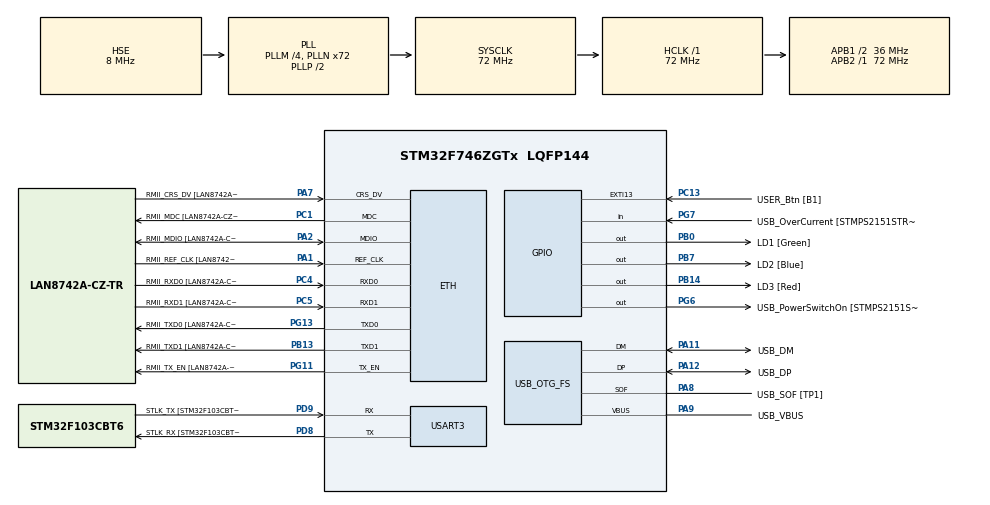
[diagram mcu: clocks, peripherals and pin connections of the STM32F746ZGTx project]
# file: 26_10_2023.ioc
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ETH.MediaInterface=HAL_ETH_RMII_MODE
ETH.PHY_Name=LAN8742A_PHY_ADDRESS
ETH.PHY_Value=0
ETH.PhyAddress=0
Mcu.Family=STM32F7
Mcu.Name=STM32F746ZGTx
Mcu.Package=LQFP144
NVIC.EXTI15_10_IRQn=true\:0\:0\:false\:false\:true\:true\:true\:true
NVIC.PriorityGroup=NVIC_PRIORITYGROUP_4
NVIC.TIM2_IRQn=true\:0\:0\:false\:false\:true\:true\:true\:true
NVIC.TIM3_IRQn=true\:0\:0\:false\:false\:true\:true\:true\:true
NVIC.USART3_IRQn=true\:0\:0\:false\:false\:true\:true\:true\:true
PA1.GPIO_Label=RMII_REF_CLK [LAN8742A-CZ-TR_REFCLK0]
PA1.Mode=RMII
PA1.Signal=ETH_REF_CLK
PA10.GPIO_Label=USB_ID
PA10.Signal=USB_OTG_FS_ID
PA11.GPIO_Label=USB_DM
PA11.Mode=Device_Only
PA11.Signal=USB_OTG_FS_DM
PA12.GPIO_Label=USB_DP
PA12.Mode=Device_Only
PA12.Signal=USB_OTG_FS_DP
PA13.GPIO_Label=TMS
PA13.Mode=Serial_Wire
PA13.Signal=SYS_JTMS-SWDIO
PA14.GPIO_Label=TCK
PA14.Mode=Serial_Wire
PA14.Signal=SYS_JTCK-SWCLK
PA2.GPIO_Label=RMII_MDIO [LAN8742A-CZ-TR_MDIO]
PA2.Mode=RMII
PA2.Signal=ETH_MDIO
PA7.GPIO_Label=RMII_CRS_DV [LAN8742A-CZ-TR_CRS_DV]
PA7.Mode=RMII
PA7.Signal=ETH_CRS_DV
PA8.GPIO_Label=USB_SOF [TP1]
PA8.Mode=Activate_SOF_FS
PA8.Signal=USB_OTG_FS_SOF
PA9.GPIO_Label=USB_VBUS
PA9.Mode=Activate_VBUS
PA9.Signal=USB_OTG_FS_VBUS
PB0.GPIO_Label=LD1 [Green]
PB0.Signal=GPIO_Output
PB13.GPIO_Label=RMII_TXD1 [LAN8742A-CZ-TR_TXD1]
PB13.Mode=RMII
PB13.Signal=ETH_TXD1
PB14.GPIO_Label=LD3 [Red]
PB14.Signal=GPIO_Output
PB3.GPIO_Label=SW0
PB3.Signal=SYS_JTDO-SWO
PB7.GPIO_Label=LD2 [Blue]
PB7.Signal=GPIO_Output
PC1.GPIO_Label=RMII_MDC [LAN8742A-CZ-TR_MDC]
PC1.Mode=RMII
PC1.Signal=ETH_MDC
PC13.GPIO_Label=USER_Btn [B1]
PC13.Signal=GPXTI13
PC14/OSC32_IN.Mode=LSE-External-Oscillator
PC14/OSC32_IN.Signal=RCC_OSC32_IN
PC15/OSC32_OUT.Mode=LSE-External-Oscillator
PC15/OSC32_OUT.Signal=RCC_OSC32_OUT
PC4.GPIO_Label=RMII_RXD0 [LAN8742A-CZ-TR_RXD0]
PC4.Mode=RMII
PC4.Signal=ETH_RXD0
PC5.GPIO_Label=RMII_RXD1 [LAN8742A-CZ-TR_RXD1]
PC5.Mode=RMII
PC5.Signal=ETH_RXD1
PD8.GPIO_Label=STLK_RX [STM32F103CBT6_PA3]
PD8.GPIO_PuPd=GPIO_PULLUP
PD8.Mode=Asynchronous
PD8.Signal=USART3_TX
PD9.GPIO_Label=STLK_TX [STM32F103CBT6_PA2]
PD9.GPIO_PuPd=GPIO_PULLUP
PD9.Mode=Asynchronous
PD9.Signal=USART3_RX
PG11.GPIO_Label=RMII_TX_EN [LAN8742A-CZ-TR_TXEN]
PG11.Mode=RMII
PG11.Signal=ETH_TX_EN
PG13.GPIO_Label=RMII_TXD0 [LAN8742A-CZ-TR_TXD0]
PG13.Mode=RMII
PG13.Signal=ETH_TXD0
PG6.GPIO_Label=USB_PowerSwitchOn [STMPS2151STR_EN]
PG6.Signal=GPIO_Output
PG7.GPIO_Label=USB_OverCurrent [STMPS2151STR_FAULT]
PG7.Signal=GPIO_Input
PH0/OSC_IN.GPIO_Label=MCO [STM32F103CBT6_PA8]
PH0/OSC_IN.Mode=HSE-External-Clock-Source
PH0/OSC_IN.Signal=RCC_OSC_IN
PH1/OSC_OUT.Mode=HSE-External-Clock-Source
PH1/OSC_OUT.Signal=RCC_OSC_OUT
ProjectManager.HeapSize=0x200
ProjectManager.StackSize=0x400
ProjectManager.TargetToolchain=STM32CubeIDE
RCC.48MHZClocksFreq_Value=24000000
RCC.AHBFreq_Value=72000000
RCC.APB1CLKDivider=RCC_HCLK_DIV2
RCC.APB1Freq_Value=36000000
RCC.APB1TimFreq_Value=72000000
RCC.APB2Freq_Value=72000000
RCC.APB2TimFreq_Value=72000000
RCC.CortexFreq_Value=72000000
RCC.HCLKFreq_Value=72000000
RCC.HSE_VALUE=8000000
RCC.HSI_VALUE=16000000
RCC.PLLM=4
RCC.PLLMUL=RCC_PLL_MUL9
RCC.PLLN=72
RCC.PLLQ=3
RCC.PRESCALERUSB=RCC_USBCLKSOURCE_PLL_DIV1_5
RCC.SYSCLKFreq_VALUE=72000000
RCC.SYSCLKSource=RCC_SYSCLKSOURCE_PLLCLK
RCC.SYSCLKSourceVirtual=RCC_SYSCLKSOURCE_PLLCLK
RCC.USBFreq_Value=48000000
RCC.VCOOutputFreq_Value=144000000
TIM2.Period=4999
TIM2.Prescaler=71
TIM3.Period=5000-1
TIM3.Prescaler=72 - 1
USART3.VirtualMode-Asynchronous=VM_ASYNC
USB_OTG_FS.VirtualMode=Device_Only
VP_TIM2_VS_ClockSourceINT.Mode=Internal
VP_TIM3_VS_ClockSourceINT.Mode=Internal
board=NUCLEO-F746ZG

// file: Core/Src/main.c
/* USER CODE BEGIN Header */
/**
  ******************************************************************************
  * @file           : main.c
  * @brief          : Main program body
  ******************************************************************************
  * @attention
  *
  * Copyright (c) 2023 STMicroelectronics.
  * All rights reserved.
  *
  * This software is licensed under terms that can be found in the LICENSE file
  * in the root directory of this software component.
  * If no LICENSE file comes with this software, it is provided AS-IS.
  *
  ******************************************************************************
  */
/* USER CODE END Header */
#include "main.h"
#include "string.h"

struct
{

}

#if defined ( __ICCARM__ ) /*!< IAR Compiler */
#pragma location=0x2004c000
ETH_DMADescTypeDef  DMARxDscrTab[ETH_RX_DESC_CNT]; /* Ethernet Rx DMA Descriptors */
#pragma location=0x2004c0a0
ETH_DMADescTypeDef  DMATxDscrTab[ETH_TX_DESC_CNT]; /* Ethernet Tx DMA Descriptors */

#elif defined ( __CC_ARM )  /* MDK ARM Compiler */

__attribute__((at(0x2004c000))) ETH_DMADescTypeDef  DMARxDscrTab[ETH_RX_DESC_CNT]; /* Ethernet Rx DMA Descriptors */
__attribute__((at(0x2004c0a0))) ETH_DMADescTypeDef  DMATxDscrTab[ETH_TX_DESC_CNT]; /* Ethernet Tx DMA Descriptors */

#elif defined ( __GNUC__ ) /* GNU Compiler */
ETH_DMADescTypeDef DMARxDscrTab[ETH_RX_DESC_CNT] __attribute__((section(".RxDecripSection"))); /* Ethernet Rx DMA Descriptors */
ETH_DMADescTypeDef DMATxDscrTab[ETH_TX_DESC_CNT] __attribute__((section(".TxDecripSection")));   /* Ethernet Tx DMA Descriptors */

#endif

ETH_TxPacketConfig TxConfig;

ETH_HandleTypeDef heth;

TIM_HandleTypeDef htim2;
TIM_HandleTypeDef htim3;

UART_HandleTypeDef huart3;

PCD_HandleTypeDef hpcd_USB_OTG_FS;

void SystemClock_Config(void);
static void MX_GPIO_Init(void);
static void MX_ETH_Init(void);
static void MX_USART3_UART_Init(void);
static void MX_USB_OTG_FS_PCD_Init(void);
static void MX_TIM2_Init(void);
static void MX_TIM3_Init(void);

/* USER CODE BEGIN 0 */
#define ZAD_4_GPIO_PIN_OUT LD2_GPIO_Port, LD2_Pin
#define ZAD_4_PIN_IN USER_Btn_Pin

#define ZAD 4

#define USE_LED 1
#if ZAD == 1
_Bool buff = 0;
#elif ZAD == 2
_Bool buff = 0;
void HAL_TIM_PeriodElapsedCallback(TIM_HandleTypeDef* htim)
{
#if USE_LED
	HAL_GPIO_TogglePin(LD1_GPIO_Port, LD1_Pin);
#endif
	buff = !buff;
}
#elif ZAD == 3 || ZAD == 4
_Bool buff = 0;
_Bool btn = 0;
char c = 0;
uint32_t arr = 5000;
void HAL_UART_RxCpltCallback(UART_HandleTypeDef *huart)
{
	if(c == '1' && arr > 100)
	{
		arr -= 100;
		__HAL_TIM_SET_AUTORELOAD(&htim2, arr - 1);
	}
	else if(c == '2' && arr < 10000)
	{
		arr += 100;
		__HAL_TIM_SET_AUTORELOAD(&htim2, arr - 1);
	}
	char buff[16];
	//itoa(arr, buff, 10);
	sprintf(buff, "%i\n\r", arr);
	HAL_UART_Transmit(&huart3, buff, strlen(buff), 100);
	HAL_UART_Receive_IT(&huart3, &c, 1);
}
#endif
#if ZAD == 3
void HAL_TIM_PeriodElapsedCallback(TIM_HandleTypeDef* htim)
{
	//HAL_GPIO_TogglePin(LD1_GPIO_Port, LD1_Pin);
	buff = !buff;
}
#elif ZAD == 4
void HAL_TIM_PeriodElapsedCallback(TIM_HandleTypeDef* htim)
{
	if(htim == &htim2)
	{
		buff = 1;
		HAL_TIM_Base_Stop_IT(&htim2);
		HAL_TIM_Base_Start_IT(&htim3);
	}
	if(htim == &htim3)
	{
		HAL_TIM_Base_Stop_IT(&htim3);
		buff = 0;
	}
}
void HAL_GPIO_EXTI_Callback(uint16_t GPIO_Pin)
{
	if(GPIO_Pin == ZAD_4_PIN_IN)
	{
		btn = 1;
		HAL_TIM_Base_Start_IT(&htim2);
		btn = 0;
	}
}
#endif
/* USER CODE END 0 */

int main(void)
{

  /* MCU Configuration--------------------------------------------------------*/

  /* Reset of all peripherals, Initializes the Flash interface and the Systick. */
  HAL_Init();

  /* Configure the system clock */
  SystemClock_Config();

  /* Initialize all configured peripherals */
  MX_GPIO_Init();
  MX_ETH_Init();
  MX_USART3_UART_Init();
  MX_USB_OTG_FS_PCD_Init();
  MX_TIM2_Init();
  MX_TIM3_Init();
  /* USER CODE BEGIN 2 */
#if ZAD == 1
  HAL_TIM_Base_Start(&htim2);
#elif ZAD == 2
  HAL_TIM_Base_Start_IT(&htim2);
#elif ZAD == 3
  HAL_UART_Receive_IT(&huart3, &c, 1);
  HAL_TIM_Base_Start_IT(&htim2);
#elif ZAD == 4
  HAL_UART_Receive_IT(&huart3, &c, 1);
  //HAL_TIM_Base_Start_IT(&htim2);
#endif

  /* USER CODE END 2 */

  /* Infinite loop */
  /* USER CODE BEGIN WHILE */
  while (1)
  {
#if ZAD == 1
	  while(__HAL_TIM_GET_FLAG(&htim2, TIM_FLAG_UPDATE) == 0);
	  __HAL_TIM_CLEAR_FLAG(&htim2, TIM_FLAG_UPDATE);
	  buff = !buff;
#if USE_LED
		HAL_GPIO_TogglePin(LD1_GPIO_Port, LD1_Pin);
#endif
#endif
#if ZAD == 2 || ZAD == 3 || ZAD == 4
		HAL_Delay(100);
#endif
    /* USER CODE END WHILE */

  }
}

void SystemClock_Config(void)
{
  RCC_OscInitTypeDef RCC_OscInitStruct = {0};
  RCC_ClkInitTypeDef RCC_ClkInitStruct = {0};

  /** Configure LSE Drive Capability
  */
  HAL_PWR_EnableBkUpAccess();

  /** Configure the main internal regulator output voltage
  */
  __HAL_RCC_PWR_CLK_ENABLE();
  __HAL_PWR_VOLTAGESCALING_CONFIG(PWR_REGULATOR_VOLTAGE_SCALE3);

  /** Initializes the RCC Oscillators according to the specified parameters
  * in the RCC_OscInitTypeDef structure.
  */
  RCC_OscInitStruct.OscillatorType = RCC_OSCILLATORTYPE_HSE;
  RCC_OscInitStruct.HSEState = RCC_HSE_BYPASS;
  RCC_OscInitStruct.PLL.PLLState = RCC_PLL_ON;
  RCC_OscInitStruct.PLL.PLLSource = RCC_PLLSOURCE_HSE;
  RCC_OscInitStruct.PLL.PLLM = 4;
  RCC_OscInitStruct.PLL.PLLN = 72;
  RCC_OscInitStruct.PLL.PLLP = RCC_PLLP_DIV2;
  RCC_OscInitStruct.PLL.PLLQ = 3;
  if (HAL_RCC_OscConfig(&RCC_OscInitStruct) != HAL_OK)
  {
    Error_Handler();
  }

  /** Initializes the CPU, AHB and APB buses clocks
  */
  RCC_ClkInitStruct.ClockType = RCC_CLOCKTYPE_HCLK|RCC_CLOCKTYPE_SYSCLK
                              |RCC_CLOCKTYPE_PCLK1|RCC_CLOCKTYPE_PCLK2;
  RCC_ClkInitStruct.SYSCLKSource = RCC_SYSCLKSOURCE_PLLCLK;
  RCC_ClkInitStruct.AHBCLKDivider = RCC_SYSCLK_DIV1;
  RCC_ClkInitStruct.APB1CLKDivider = RCC_HCLK_DIV2;
  RCC_ClkInitStruct.APB2CLKDivider = RCC_HCLK_DIV1;

  if (HAL_RCC_ClockConfig(&RCC_ClkInitStruct, FLASH_LATENCY_2) != HAL_OK)
  {
    Error_Handler();
  }
}

static void MX_ETH_Init(void)
{

   static uint8_t MACAddr[6];

  heth.Instance = ETH;
  MACAddr[0] = 0x00;
  MACAddr[1] = 0x80;
  MACAddr[2] = 0xE1;
  MACAddr[3] = 0x00;
  MACAddr[4] = 0x00;
  MACAddr[5] = 0x00;
  heth.Init.MACAddr = &MACAddr[0];
  heth.Init.MediaInterface = HAL_ETH_RMII_MODE;
  heth.Init.TxDesc = DMATxDscrTab;
  heth.Init.RxDesc = DMARxDscrTab;
  heth.Init.RxBuffLen = 1524;

  if (HAL_ETH_Init(&heth) != HAL_OK)
  {
    Error_Handler();
  }

  memset(&TxConfig, 0 , sizeof(ETH_TxPacketConfig));
  TxConfig.Attributes = ETH_TX_PACKETS_FEATURES_CSUM | ETH_TX_PACKETS_FEATURES_CRCPAD;
  TxConfig.ChecksumCtrl = ETH_CHECKSUM_IPHDR_PAYLOAD_INSERT_PHDR_CALC;
  TxConfig.CRCPadCtrl = ETH_CRC_PAD_INSERT;

}

static void MX_TIM2_Init(void)
{

  TIM_ClockConfigTypeDef sClockSourceConfig = {0};
  TIM_MasterConfigTypeDef sMasterConfig = {0};

  htim2.Instance = TIM2;
  htim2.Init.Prescaler = 71;
  htim2.Init.CounterMode = TIM_COUNTERMODE_UP;
  htim2.Init.Period = 4999;
  htim2.Init.ClockDivision = TIM_CLOCKDIVISION_DIV1;
  htim2.Init.AutoReloadPreload = TIM_AUTORELOAD_PRELOAD_DISABLE;
  if (HAL_TIM_Base_Init(&htim2) != HAL_OK)
  {
    Error_Handler();
  }
  sClockSourceConfig.ClockSource = TIM_CLOCKSOURCE_INTERNAL;
  if (HAL_TIM_ConfigClockSource(&htim2, &sClockSourceConfig) != HAL_OK)
  {
    Error_Handler();
  }
  sMasterConfig.MasterOutputTrigger = TIM_TRGO_RESET;
  sMasterConfig.MasterSlaveMode = TIM_MASTERSLAVEMODE_DISABLE;
  if (HAL_TIMEx_MasterConfigSynchronization(&htim2, &sMasterConfig) != HAL_OK)
  {
    Error_Handler();
  }

}

static void MX_TIM3_Init(void)
{

  TIM_ClockConfigTypeDef sClockSourceConfig = {0};
  TIM_MasterConfigTypeDef sMasterConfig = {0};

  htim3.Instance = TIM3;
  htim3.Init.Prescaler = 72 - 1;
  htim3.Init.CounterMode = TIM_COUNTERMODE_UP;
  htim3.Init.Period = 5000-1;
  htim3.Init.ClockDivision = TIM_CLOCKDIVISION_DIV1;
  htim3.Init.AutoReloadPreload = TIM_AUTORELOAD_PRELOAD_DISABLE;
  if (HAL_TIM_Base_Init(&htim3) != HAL_OK)
  {
    Error_Handler();
  }
  sClockSourceConfig.ClockSource = TIM_CLOCKSOURCE_INTERNAL;
  if (HAL_TIM_ConfigClockSource(&htim3, &sClockSourceConfig) != HAL_OK)
  {
    Error_Handler();
  }
  sMasterConfig.MasterOutputTrigger = TIM_TRGO_RESET;
  sMasterConfig.MasterSlaveMode = TIM_MASTERSLAVEMODE_DISABLE;
  if (HAL_TIMEx_MasterConfigSynchronization(&htim3, &sMasterConfig) != HAL_OK)
  {
    Error_Handler();
  }

}

static void MX_USART3_UART_Init(void)
{

  huart3.Instance = USART3;
  huart3.Init.BaudRate = 115200;
  huart3.Init.WordLength = UART_WORDLENGTH_8B;
  huart3.Init.StopBits = UART_STOPBITS_1;
  huart3.Init.Parity = UART_PARITY_NONE;
  huart3.Init.Mode = UART_MODE_TX_RX;
  huart3.Init.HwFlowCtl = UART_HWCONTROL_NONE;
  huart3.Init.OverSampling = UART_OVERSAMPLING_16;
  huart3.Init.OneBitSampling = UART_ONE_BIT_SAMPLE_DISABLE;
  huart3.AdvancedInit.AdvFeatureInit = UART_ADVFEATURE_NO_INIT;
  if (HAL_UART_Init(&huart3) != HAL_OK)
  {
    Error_Handler();
  }

}

static void MX_USB_OTG_FS_PCD_Init(void)
{

  hpcd_USB_OTG_FS.Instance = USB_OTG_FS;
  hpcd_USB_OTG_FS.Init.dev_endpoints = 6;
  hpcd_USB_OTG_FS.Init.speed = PCD_SPEED_FULL;
  hpcd_USB_OTG_FS.Init.dma_enable = DISABLE;
  hpcd_USB_OTG_FS.Init.phy_itface = PCD_PHY_EMBEDDED;
  hpcd_USB_OTG_FS.Init.Sof_enable = ENABLE;
  hpcd_USB_OTG_FS.Init.low_power_enable = DISABLE;
  hpcd_USB_OTG_FS.Init.lpm_enable = DISABLE;
  hpcd_USB_OTG_FS.Init.vbus_sensing_enable = ENABLE;
  hpcd_USB_OTG_FS.Init.use_dedicated_ep1 = DISABLE;
  if (HAL_PCD_Init(&hpcd_USB_OTG_FS) != HAL_OK)
  {
    Error_Handler();
  }

}

static void MX_GPIO_Init(void)
{
  GPIO_InitTypeDef GPIO_InitStruct = {0};

  /* GPIO Ports Clock Enable */
  __HAL_RCC_GPIOC_CLK_ENABLE();
  __HAL_RCC_GPIOH_CLK_ENABLE();
  __HAL_RCC_GPIOA_CLK_ENABLE();
  __HAL_RCC_GPIOB_CLK_ENABLE();
  __HAL_RCC_GPIOD_CLK_ENABLE();
  __HAL_RCC_GPIOG_CLK_ENABLE();

  /*Configure GPIO pin Output Level */
  HAL_GPIO_WritePin(GPIOB, LD1_Pin|LD3_Pin|LD2_Pin, GPIO_PIN_RESET);

  /*Configure GPIO pin Output Level */
  HAL_GPIO_WritePin(USB_PowerSwitchOn_GPIO_Port, USB_PowerSwitchOn_Pin, GPIO_PIN_RESET);

  /*Configure GPIO pin : USER_Btn_Pin */
  GPIO_InitStruct.Pin = USER_Btn_Pin;
  GPIO_InitStruct.Mode = GPIO_MODE_IT_RISING;
  GPIO_InitStruct.Pull = GPIO_NOPULL;
  HAL_GPIO_Init(USER_Btn_GPIO_Port, &GPIO_InitStruct);

  /*Configure GPIO pins : LD1_Pin LD3_Pin LD2_Pin */
  GPIO_InitStruct.Pin = LD1_Pin|LD3_Pin|LD2_Pin;
  GPIO_InitStruct.Mode = GPIO_MODE_OUTPUT_PP;
  GPIO_InitStruct.Pull = GPIO_NOPULL;
  GPIO_InitStruct.Speed = GPIO_SPEED_FREQ_LOW;
  HAL_GPIO_Init(GPIOB, &GPIO_InitStruct);

  /*Configure GPIO pin : USB_PowerSwitchOn_Pin */
  GPIO_InitStruct.Pin = USB_PowerSwitchOn_Pin;
  GPIO_InitStruct.Mode = GPIO_MODE_OUTPUT_PP;
  GPIO_InitStruct.Pull = GPIO_NOPULL;
  GPIO_InitStruct.Speed = GPIO_SPEED_FREQ_LOW;
  HAL_GPIO_Init(USB_PowerSwitchOn_GPIO_Port, &GPIO_InitStruct);

  /*Configure GPIO pin : USB_OverCurrent_Pin */
  GPIO_InitStruct.Pin = USB_OverCurrent_Pin;
  GPIO_InitStruct.Mode = GPIO_MODE_INPUT;
  GPIO_InitStruct.Pull = GPIO_NOPULL;
  HAL_GPIO_Init(USB_OverCurrent_GPIO_Port, &GPIO_InitStruct);

  /* EXTI interrupt init*/
  HAL_NVIC_SetPriority(EXTI15_10_IRQn, 0, 0);
  HAL_NVIC_EnableIRQ(EXTI15_10_IRQn);

}

void Error_Handler(void)
{
  __disable_irq();
  while (1)
  {
  }
}
